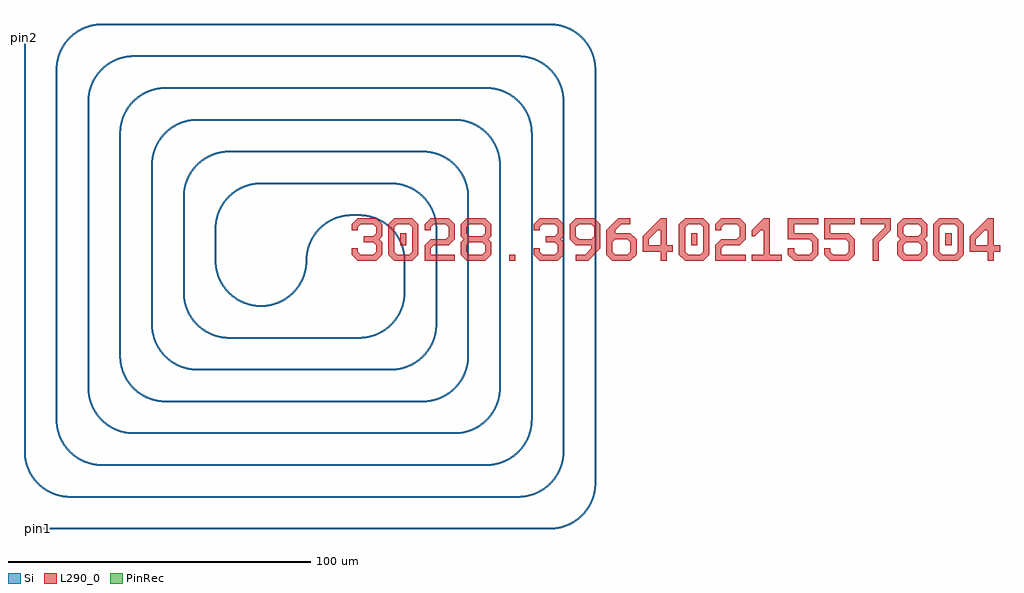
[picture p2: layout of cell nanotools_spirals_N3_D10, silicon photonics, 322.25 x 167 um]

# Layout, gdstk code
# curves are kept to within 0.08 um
import gdstk
lib = gdstk.Library(unit=1e-6, precision=1e-09)
def R(c, l, rs):  # rectangles x0, y0, x1, y1
    for r in rs: c.add(gdstk.rectangle(r[:2], r[2:], *l))
def P(c, l, *ps):  # polygons
    for p in ps: c.add(gdstk.Polygon(p, *l))
Si = (1, 0)
PinRec = (1, 10)
L290_0 = (290, 0)

nanotools_spirals_n3_d10 = lib.new_cell('nanotools_spirals_N3_D10')
R(nanotools_spirals_n3_d10, Si, [(-103.5,-88.75,65.4,-88.25), (-93,-78.25,54.9,-77.75), (80.15,-73.5,80.65,63), (-82.5,-67.75,44.4,-67.25), (-108.25,-63,-107.75,73.5), (69.65,-63,70.15,52.5), (-72,-57.25,33.9,-56.75), (-97.75,-52.5,-97.25,63), (59.15,-52.5,59.65,42), (-61.5,-46.75,23.4,-46.25), (-87.25,-42,-86.75,52.5), (48.65,-42,49.15,31.5), (-51,-36.25,12.9,-35.75), (-76.75,-31.5,-76.25,42), (38.15,-31.5,38.65,21), (-40.5,-25.75,2.4,-25.25), (-66.25,-21,-65.75,31.5), (27.65,-21,28.15,10.5), (-55.75,-10.5,-55.25,21), (17.15,-10.5,17.65,0), (-45.25,0,-44.75,10.5), (0,14.75,2.4,15.25), (-30,25.25,12.9,25.75), (-40.5,35.75,23.4,36.25), (-51,46.25,33.9,46.75), (-61.5,56.75,44.4,57.25), (-72,67.25,54.9,67.75), (-82.5,77.75,65.4,78.25)])
P(nanotools_spirals_n3_d10, Si, [(-15.25,0),(-15.178,1.483),(-14.961,2.952),(-14.603,4.394),(-14.107,5.793),(-13.477,7.138),(-12.718,8.414),(-11.84,9.612),(-10.849,10.718),(-9.755,11.722),(-8.569,12.615),(-7.138,13.477),(-5.793,14.107),(-4.394,14.603),(-2.952,14.961),(-1.483,15.178),(0,15.25),(0,14.75),(-1.613,14.662),(-3.032,14.435),(-4.592,14.017),(-6.098,13.431),(-7.219,12.863),(-8.436,12.1),(-9.435,11.338),(-10.366,10.493),(-11.222,9.573),(-12.1,8.436),(-12.863,7.219),(-13.431,6.098),(-14.017,4.592),(-14.435,3.032),(-14.662,1.613),(-14.75,0)],
  [(-30,-15.25),(-30,-14.75),(-28.387,-14.662),(-26.968,-14.435),(-25.408,-14.017),(-23.902,-13.431),(-22.781,-12.863),(-21.564,-12.1),(-20.565,-11.338),(-19.634,-10.493),(-18.778,-9.573),(-17.9,-8.436),(-17.137,-7.219),(-16.569,-6.098),(-15.983,-4.592),(-15.565,-3.032),(-15.338,-1.613),(-15.25,0),(-14.75,0),(-14.822,-1.483),(-15.039,-2.952),(-15.397,-4.394),(-15.893,-5.793),(-16.523,-7.138),(-17.282,-8.414),(-18.16,-9.612),(-19.151,-10.718),(-20.245,-11.722),(-21.431,-12.615),(-22.862,-13.477),(-24.207,-14.107),(-25.606,-14.603),(-27.048,-14.961),(-28.517,-15.178)],
  [(2.4,-25.75),(2.4,-25.25),(4.013,-25.162),(5.432,-24.935),(6.992,-24.517),(8.498,-23.931),(9.619,-23.363),(10.836,-22.6),(11.835,-21.838),(12.766,-20.993),(13.622,-20.073),(14.5,-18.936),(15.263,-17.719),(15.831,-16.598),(16.417,-15.092),(16.835,-13.532),(17.062,-12.113),(17.15,-10.5),(17.65,-10.5),(17.578,-11.983),(17.361,-13.452),(17.003,-14.894),(16.507,-16.293),(15.877,-17.638),(15.118,-18.914),(14.24,-20.112),(13.249,-21.218),(12.155,-22.222),(10.969,-23.115),(9.538,-23.977),(8.193,-24.607),(6.794,-25.103),(5.352,-25.461),(3.883,-25.678)],
  [(12.9,-36.25),(12.9,-35.75),(14.513,-35.662),(15.932,-35.435),(17.492,-35.017),(18.998,-34.431),(20.119,-33.863),(21.336,-33.1),(22.335,-32.338),(23.266,-31.493),(24.122,-30.573),(25,-29.436),(25.763,-28.219),(26.331,-27.098),(26.917,-25.592),(27.335,-24.032),(27.562,-22.613),(27.65,-21),(28.15,-21),(28.078,-22.483),(27.861,-23.952),(27.503,-25.394),(27.007,-26.793),(26.377,-28.138),(25.618,-29.414),(24.74,-30.612),(23.749,-31.718),(22.655,-32.722),(21.469,-33.615),(20.038,-34.477),(18.693,-35.107),(17.294,-35.603),(15.852,-35.961),(14.383,-36.178)],
  [(23.4,-46.75),(23.4,-46.25),(25.013,-46.162),(26.432,-45.935),(27.992,-45.517),(29.498,-44.931),(30.619,-44.363),(31.836,-43.6),(32.835,-42.838),(33.766,-41.993),(34.622,-41.073),(35.5,-39.936),(36.263,-38.719),(36.831,-37.598),(37.417,-36.092),(37.835,-34.532),(38.062,-33.113),(38.15,-31.5),(38.65,-31.5),(38.578,-32.983),(38.361,-34.452),(38.003,-35.894),(37.507,-37.293),(36.877,-38.638),(36.118,-39.914),(35.24,-41.112),(34.249,-42.218),(33.155,-43.222),(31.969,-44.115),(30.538,-44.977),(29.193,-45.607),(27.794,-46.103),(26.352,-46.461),(24.883,-46.678)],
  [(33.9,-57.25),(33.9,-56.75),(35.513,-56.662),(36.932,-56.435),(38.492,-56.017),(39.998,-55.431),(41.119,-54.863),(42.336,-54.1),(43.335,-53.338),(44.266,-52.493),(45.122,-51.573),(46,-50.436),(46.763,-49.219),(47.331,-48.098),(47.917,-46.592),(48.335,-45.032),(48.562,-43.613),(48.65,-42),(49.15,-42),(49.078,-43.483),(48.861,-44.952),(48.503,-46.394),(48.007,-47.793),(47.377,-49.138),(46.618,-50.414),(45.74,-51.612),(44.749,-52.718),(43.655,-53.722),(42.469,-54.615),(41.038,-55.477),(39.693,-56.107),(38.294,-56.603),(36.852,-56.961),(35.383,-57.178)],
  [(44.4,-67.75),(44.4,-67.25),(46.013,-67.162),(47.432,-66.935),(48.992,-66.517),(50.498,-65.931),(51.619,-65.363),(52.836,-64.6),(53.835,-63.838),(54.766,-62.993),(55.622,-62.073),(56.5,-60.936),(57.263,-59.719),(57.831,-58.598),(58.417,-57.092),(58.835,-55.532),(59.062,-54.113),(59.15,-52.5),(59.65,-52.5),(59.578,-53.983),(59.361,-55.452),(59.003,-56.894),(58.507,-58.293),(57.877,-59.638),(57.118,-60.914),(56.24,-62.112),(55.249,-63.218),(54.155,-64.222),(52.969,-65.115),(51.538,-65.977),(50.193,-66.607),(48.794,-67.103),(47.352,-67.461),(45.883,-67.678)],
  [(54.9,-78.25),(54.9,-77.75),(56.513,-77.662),(57.932,-77.435),(59.492,-77.017),(60.998,-76.431),(62.119,-75.863),(63.336,-75.1),(64.335,-74.338),(65.266,-73.493),(66.122,-72.573),(67,-71.436),(67.763,-70.219),(68.331,-69.098),(68.917,-67.592),(69.335,-66.032),(69.562,-64.613),(69.65,-63),(70.15,-63),(70.078,-64.483),(69.861,-65.952),(69.503,-67.394),(69.007,-68.793),(68.377,-70.138),(67.618,-71.414),(66.74,-72.612),(65.749,-73.718),(64.655,-74.722),(63.469,-75.615),(62.038,-76.477),(60.693,-77.107),(59.294,-77.603),(57.852,-77.961),(56.383,-78.178)],
  [(65.4,-88.75),(65.4,-88.25),(67.013,-88.162),(68.432,-87.935),(69.992,-87.517),(71.498,-86.931),(72.619,-86.363),(73.836,-85.6),(74.835,-84.838),(75.766,-83.993),(76.622,-83.073),(77.5,-81.936),(78.263,-80.719),(78.831,-79.598),(79.417,-78.092),(79.835,-76.532),(80.062,-75.113),(80.15,-73.5),(80.65,-73.5),(80.578,-74.983),(80.361,-76.452),(80.003,-77.894),(79.507,-79.293),(78.877,-80.638),(78.118,-81.914),(77.24,-83.112),(76.249,-84.218),(75.155,-85.222),(73.969,-86.115),(72.538,-86.977),(71.193,-87.607),(69.794,-88.103),(68.352,-88.461),(66.883,-88.678)],
  [(17.15,0),(17.08,1.435),(16.905,2.679),(16.575,4.077),(16.112,5.437),(15.518,6.744),(14.8,7.988),(13.964,9.156),(13.019,10.238),(11.973,11.222),(10.982,11.996),(9.775,12.774),(8.661,13.355),(7.162,13.96),(5.607,14.397),(4.013,14.662),(2.4,14.75),(2.4,15.25),(4.068,15.159),(5.534,14.924),(6.971,14.549),(8.364,14.035),(9.864,13.299),(11.122,12.51),(12.297,11.602),(13.379,10.585),(14.356,9.467),(15.32,8.102),(16.128,6.641),(16.772,5.099),(17.324,3.134),(17.609,1.113),(17.65,0)],
  [(27.65,10.5),(27.58,11.935),(27.405,13.179),(27.075,14.577),(26.612,15.937),(26.018,17.244),(25.3,18.488),(24.464,19.656),(23.519,20.738),(22.473,21.722),(21.482,22.496),(20.275,23.274),(19.161,23.855),(17.662,24.46),(16.107,24.897),(14.513,25.162),(12.9,25.25),(12.9,25.75),(14.568,25.659),(16.034,25.424),(17.471,25.049),(18.864,24.535),(20.364,23.799),(21.622,23.01),(22.797,22.102),(23.879,21.085),(24.856,19.967),(25.82,18.602),(26.628,17.141),(27.272,15.599),(27.824,13.634),(28.109,11.613),(28.15,10.5)],
  [(38.15,21),(38.08,22.435),(37.905,23.679),(37.575,25.077),(37.112,26.437),(36.518,27.744),(35.8,28.988),(34.964,30.156),(34.019,31.238),(32.973,32.222),(31.982,32.996),(30.775,33.774),(29.661,34.355),(28.162,34.96),(26.607,35.397),(25.013,35.662),(23.4,35.75),(23.4,36.25),(25.068,36.159),(26.534,35.924),(27.971,35.549),(29.364,35.035),(30.864,34.299),(32.122,33.51),(33.297,32.602),(34.379,31.585),(35.356,30.467),(36.32,29.102),(37.128,27.641),(37.772,26.099),(38.324,24.134),(38.609,22.113),(38.65,21)],
  [(48.65,31.5),(48.58,32.935),(48.405,34.179),(48.075,35.577),(47.612,36.937),(47.018,38.244),(46.3,39.488),(45.464,40.656),(44.519,41.738),(43.473,42.722),(42.482,43.496),(41.275,44.274),(40.161,44.855),(38.662,45.46),(37.107,45.897),(35.513,46.162),(33.9,46.25),(33.9,46.75),(35.568,46.659),(37.034,46.424),(38.471,46.049),(39.864,45.535),(41.364,44.799),(42.622,44.01),(43.797,43.102),(44.879,42.085),(45.856,40.967),(46.82,39.602),(47.628,38.141),(48.272,36.599),(48.824,34.634),(49.109,32.613),(49.15,31.5)],
  [(59.15,42),(59.08,43.435),(58.905,44.679),(58.575,46.077),(58.112,47.437),(57.518,48.744),(56.8,49.988),(55.964,51.156),(55.019,52.238),(53.973,53.222),(52.982,53.996),(51.775,54.774),(50.661,55.355),(49.162,55.96),(47.607,56.397),(46.013,56.662),(44.4,56.75),(44.4,57.25),(46.068,57.159),(47.534,56.924),(48.971,56.549),(50.364,56.035),(51.864,55.299),(53.122,54.51),(54.297,53.602),(55.379,52.585),(56.356,51.467),(57.32,50.102),(58.128,48.641),(58.772,47.099),(59.324,45.134),(59.609,43.113),(59.65,42)],
  [(69.65,52.5),(69.58,53.935),(69.405,55.179),(69.075,56.577),(68.612,57.937),(68.018,59.244),(67.3,60.488),(66.464,61.656),(65.519,62.738),(64.473,63.722),(63.482,64.496),(62.275,65.274),(61.161,65.855),(59.662,66.46),(58.107,66.897),(56.513,67.162),(54.9,67.25),(54.9,67.75),(56.568,67.659),(58.034,67.424),(59.471,67.049),(60.864,66.535),(62.364,65.799),(63.622,65.01),(64.797,64.102),(65.879,63.085),(66.856,61.967),(67.82,60.602),(68.628,59.141),(69.272,57.599),(69.824,55.634),(70.109,53.613),(70.15,52.5)],
  [(80.15,63),(80.08,64.435),(79.905,65.679),(79.575,67.077),(79.112,68.437),(78.518,69.744),(77.8,70.988),(76.964,72.156),(76.019,73.238),(74.973,74.222),(73.982,74.996),(72.775,75.774),(71.661,76.355),(70.162,76.96),(68.607,77.397),(67.013,77.662),(65.4,77.75),(65.4,78.25),(67.068,78.159),(68.534,77.924),(69.971,77.549),(71.364,77.035),(72.864,76.299),(74.122,75.51),(75.297,74.602),(76.379,73.585),(77.356,72.467),(78.32,71.102),(79.128,69.641),(79.772,68.099),(80.324,66.134),(80.609,64.113),(80.65,63)],
  [(-45.25,10.5),(-45.178,11.983),(-44.961,13.452),(-44.603,14.894),(-44.107,16.293),(-43.477,17.638),(-42.718,18.914),(-41.84,20.112),(-40.849,21.218),(-39.755,22.222),(-38.569,23.115),(-37.138,23.977),(-35.793,24.607),(-34.394,25.103),(-32.952,25.461),(-31.483,25.678),(-30,25.75),(-30,25.25),(-31.613,25.162),(-33.032,24.935),(-34.592,24.517),(-36.098,23.931),(-37.219,23.363),(-38.436,22.6),(-39.435,21.838),(-40.366,20.993),(-41.222,20.073),(-42.1,18.936),(-42.863,17.719),(-43.431,16.598),(-44.017,15.092),(-44.435,13.532),(-44.662,12.113),(-44.75,10.5)],
  [(-55.75,21),(-55.678,22.483),(-55.461,23.952),(-55.103,25.394),(-54.607,26.793),(-53.977,28.138),(-53.218,29.414),(-52.34,30.612),(-51.349,31.718),(-50.255,32.722),(-49.069,33.615),(-47.638,34.477),(-46.293,35.107),(-44.894,35.603),(-43.452,35.961),(-41.983,36.178),(-40.5,36.25),(-40.5,35.75),(-42.113,35.662),(-43.532,35.435),(-45.092,35.017),(-46.598,34.431),(-47.719,33.863),(-48.936,33.1),(-49.935,32.338),(-50.866,31.493),(-51.722,30.573),(-52.6,29.436),(-53.363,28.219),(-53.931,27.098),(-54.517,25.592),(-54.935,24.032),(-55.162,22.613),(-55.25,21)],
  [(-66.25,31.5),(-66.178,32.983),(-65.961,34.452),(-65.603,35.894),(-65.107,37.293),(-64.477,38.638),(-63.718,39.914),(-62.84,41.112),(-61.849,42.218),(-60.755,43.222),(-59.569,44.115),(-58.138,44.977),(-56.793,45.607),(-55.394,46.103),(-53.952,46.461),(-52.483,46.678),(-51,46.75),(-51,46.25),(-52.613,46.162),(-54.032,45.935),(-55.592,45.517),(-57.098,44.931),(-58.219,44.363),(-59.436,43.6),(-60.435,42.838),(-61.366,41.993),(-62.222,41.073),(-63.1,39.936),(-63.863,38.719),(-64.431,37.598),(-65.017,36.092),(-65.435,34.532),(-65.662,33.113),(-65.75,31.5)],
  [(-76.75,42),(-76.678,43.483),(-76.461,44.952),(-76.103,46.394),(-75.607,47.793),(-74.977,49.138),(-74.218,50.414),(-73.34,51.612),(-72.349,52.718),(-71.255,53.722),(-70.069,54.615),(-68.638,55.477),(-67.293,56.107),(-65.894,56.603),(-64.452,56.961),(-62.983,57.178),(-61.5,57.25),(-61.5,56.75),(-63.113,56.662),(-64.532,56.435),(-66.092,56.017),(-67.598,55.431),(-68.719,54.863),(-69.936,54.1),(-70.935,53.338),(-71.866,52.493),(-72.722,51.573),(-73.6,50.436),(-74.363,49.219),(-74.931,48.098),(-75.517,46.592),(-75.935,45.032),(-76.162,43.613),(-76.25,42)],
  [(-87.25,52.5),(-87.178,53.983),(-86.961,55.452),(-86.603,56.894),(-86.107,58.293),(-85.477,59.638),(-84.718,60.914),(-83.84,62.112),(-82.849,63.218),(-81.755,64.222),(-80.569,65.115),(-79.138,65.977),(-77.793,66.607),(-76.394,67.103),(-74.952,67.461),(-73.483,67.678),(-72,67.75),(-72,67.25),(-73.613,67.162),(-75.032,66.935),(-76.592,66.517),(-78.098,65.931),(-79.219,65.363),(-80.436,64.6),(-81.435,63.838),(-82.366,62.993),(-83.222,62.073),(-84.1,60.936),(-84.863,59.719),(-85.431,58.598),(-86.017,57.092),(-86.435,55.532),(-86.662,54.113),(-86.75,52.5)],
  [(-97.75,63),(-97.678,64.483),(-97.461,65.952),(-97.103,67.394),(-96.607,68.793),(-95.977,70.138),(-95.218,71.414),(-94.34,72.612),(-93.349,73.718),(-92.255,74.722),(-91.069,75.615),(-89.638,76.477),(-88.293,77.107),(-86.894,77.603),(-85.452,77.961),(-83.983,78.178),(-82.5,78.25),(-82.5,77.75),(-84.113,77.662),(-85.532,77.435),(-87.092,77.017),(-88.598,76.431),(-89.719,75.863),(-90.936,75.1),(-91.935,74.338),(-92.866,73.493),(-93.722,72.573),(-94.6,71.436),(-95.363,70.219),(-95.931,69.098),(-96.517,67.592),(-96.935,66.032),(-97.162,64.613),(-97.25,63)],
  [(-30,-15.25),(-31.483,-15.178),(-32.952,-14.961),(-34.394,-14.603),(-35.793,-14.107),(-37.138,-13.477),(-38.414,-12.718),(-39.612,-11.84),(-40.718,-10.849),(-41.722,-9.755),(-42.615,-8.569),(-43.477,-7.138),(-44.107,-5.793),(-44.603,-4.394),(-44.961,-2.952),(-45.178,-1.483),(-45.25,0),(-44.75,0),(-44.662,-1.613),(-44.435,-3.032),(-44.017,-4.592),(-43.431,-6.098),(-42.863,-7.219),(-42.1,-8.436),(-41.338,-9.435),(-40.493,-10.366),(-39.573,-11.222),(-38.436,-12.1),(-37.219,-12.863),(-36.098,-13.431),(-34.592,-14.017),(-33.032,-14.435),(-31.613,-14.662),(-30,-14.75)],
  [(-40.5,-25.75),(-41.983,-25.678),(-43.452,-25.461),(-44.894,-25.103),(-46.293,-24.607),(-47.638,-23.977),(-48.914,-23.218),(-50.112,-22.34),(-51.218,-21.349),(-52.222,-20.255),(-53.115,-19.069),(-53.977,-17.638),(-54.607,-16.293),(-55.103,-14.894),(-55.461,-13.452),(-55.678,-11.983),(-55.75,-10.5),(-55.25,-10.5),(-55.162,-12.113),(-54.935,-13.532),(-54.517,-15.092),(-53.931,-16.598),(-53.363,-17.719),(-52.6,-18.936),(-51.838,-19.935),(-50.993,-20.866),(-50.073,-21.722),(-48.936,-22.6),(-47.719,-23.363),(-46.598,-23.931),(-45.092,-24.517),(-43.532,-24.935),(-42.113,-25.162),(-40.5,-25.25)],
  [(-51,-36.25),(-52.483,-36.178),(-53.952,-35.961),(-55.394,-35.603),(-56.793,-35.107),(-58.138,-34.477),(-59.414,-33.718),(-60.612,-32.84),(-61.718,-31.849),(-62.722,-30.755),(-63.615,-29.569),(-64.477,-28.138),(-65.107,-26.793),(-65.603,-25.394),(-65.961,-23.952),(-66.178,-22.483),(-66.25,-21),(-65.75,-21),(-65.662,-22.613),(-65.435,-24.032),(-65.017,-25.592),(-64.431,-27.098),(-63.863,-28.219),(-63.1,-29.436),(-62.338,-30.435),(-61.493,-31.366),(-60.573,-32.222),(-59.436,-33.1),(-58.219,-33.863),(-57.098,-34.431),(-55.592,-35.017),(-54.032,-35.435),(-52.613,-35.662),(-51,-35.75)],
  [(-61.5,-46.75),(-62.983,-46.678),(-64.452,-46.461),(-65.894,-46.103),(-67.293,-45.607),(-68.638,-44.977),(-69.914,-44.218),(-71.112,-43.34),(-72.218,-42.349),(-73.222,-41.255),(-74.115,-40.069),(-74.977,-38.638),(-75.607,-37.293),(-76.103,-35.894),(-76.461,-34.452),(-76.678,-32.983),(-76.75,-31.5),(-76.25,-31.5),(-76.162,-33.113),(-75.935,-34.532),(-75.517,-36.092),(-74.931,-37.598),(-74.363,-38.719),(-73.6,-39.936),(-72.838,-40.935),(-71.993,-41.866),(-71.073,-42.722),(-69.936,-43.6),(-68.719,-44.363),(-67.598,-44.931),(-66.092,-45.517),(-64.532,-45.935),(-63.113,-46.162),(-61.5,-46.25)],
  [(-72,-57.25),(-73.483,-57.178),(-74.952,-56.961),(-76.394,-56.603),(-77.793,-56.107),(-79.138,-55.477),(-80.414,-54.718),(-81.612,-53.84),(-82.718,-52.849),(-83.722,-51.755),(-84.615,-50.569),(-85.477,-49.138),(-86.107,-47.793),(-86.603,-46.394),(-86.961,-44.952),(-87.178,-43.483),(-87.25,-42),(-86.75,-42),(-86.662,-43.613),(-86.435,-45.032),(-86.017,-46.592),(-85.431,-48.098),(-84.863,-49.219),(-84.1,-50.436),(-83.338,-51.435),(-82.493,-52.366),(-81.573,-53.222),(-80.436,-54.1),(-79.219,-54.863),(-78.098,-55.431),(-76.592,-56.017),(-75.032,-56.435),(-73.613,-56.662),(-72,-56.75)],
  [(-82.5,-67.75),(-83.983,-67.678),(-85.452,-67.461),(-86.894,-67.103),(-88.293,-66.607),(-89.638,-65.977),(-90.914,-65.218),(-92.112,-64.34),(-93.218,-63.349),(-94.222,-62.255),(-95.115,-61.069),(-95.977,-59.638),(-96.607,-58.293),(-97.103,-56.894),(-97.461,-55.452),(-97.678,-53.983),(-97.75,-52.5),(-97.25,-52.5),(-97.162,-54.113),(-96.935,-55.532),(-96.517,-57.092),(-95.931,-58.598),(-95.363,-59.719),(-94.6,-60.936),(-93.838,-61.935),(-92.993,-62.866),(-92.073,-63.722),(-90.936,-64.6),(-89.719,-65.363),(-88.598,-65.931),(-87.092,-66.517),(-85.532,-66.935),(-84.113,-67.162),(-82.5,-67.25)],
  [(-93,-78.25),(-94.483,-78.178),(-95.952,-77.961),(-97.394,-77.603),(-98.793,-77.107),(-100.138,-76.477),(-101.414,-75.718),(-102.612,-74.84),(-103.718,-73.849),(-104.722,-72.755),(-105.615,-71.569),(-106.477,-70.138),(-107.107,-68.793),(-107.603,-67.394),(-107.961,-65.952),(-108.178,-64.483),(-108.25,-63),(-107.75,-63),(-107.662,-64.613),(-107.435,-66.032),(-107.017,-67.592),(-106.431,-69.098),(-105.863,-70.219),(-105.1,-71.436),(-104.338,-72.435),(-103.493,-73.366),(-102.573,-74.222),(-101.436,-75.1),(-100.219,-75.863),(-99.098,-76.431),(-97.592,-77.017),(-96.032,-77.435),(-94.613,-77.662),(-93,-77.75)])
R(nanotools_spirals_n3_d10, L290_0, [(52,0,54,2), (16,5,18,9), (112,5,114,9), (196,5,198,9)])
P(nanotools_spirals_n3_d10, L290_0, [(2,0),(0,2),(0,4),(2,4),(2,3),(3,2),(7,2),(8,3),(8,5),(7,6),(4,6),(4,8),(7,8),(8,9),(8,11),(7,12),(3,12),(2,11),(2,10),(0,10),(0,12),(2,14),(8,14),(10,12),(10,8),(9,7),(10,6),(10,2),(8,0)],
  [(14,0),(12,2),(12,12),(14,14),(20,14),(22,12),(15,12),(14,11),(14,3),(15,2),(19,2),(20,3),(20,11),(19,12),(22,12),(22,2),(20,0)],
  [(24,0),(24,5),(26,7),(31,7),(32,8),(32,11),(31,12),(27,12),(26,11),(26,10),(24,10),(24,12),(26,14),(32,14),(34,12),(34,7),(32,5),(27,5),(26,4),(26,2),(34,2),(34,0)],
  [(38,0),(36,2),(36,6),(37,7),(36,8),(36,12),(38,14),(44,14),(46,12),(39,12),(38,11),(38,9),(39,8),(43,8),(44,9),(44,11),(43,12),(46,12),(46,8),(45,7),(46,6),(39,6),(38,5),(38,3),(39,2),(43,2),(44,3),(44,5),(43,6),(46,6),(46,2),(44,0)],
  [(62,0),(60,2),(60,4),(62,4),(62,3),(63,2),(67,2),(68,3),(68,5),(67,6),(64,6),(64,8),(67,8),(68,9),(68,11),(67,12),(63,12),(62,11),(62,10),(60,10),(60,12),(62,14),(68,14),(70,12),(70,8),(69,7),(70,6),(70,2),(68,0)],
  [(74,0),(74,2),(77,2),(79,4),(79,5),(74,5),(72,7),(79,7),(80,8),(80,11),(79,12),(75,12),(74,11),(74,8),(75,7),(72,7),(72,12),(74,14),(80,14),(82,12),(82,4),(78,0)],
  [(86,0),(84,2),(84,10),(88,14),(92,14),(92,12),(89,12),(87,10),(87,9),(92,9),(94,7),(87,7),(86,6),(86,3),(87,2),(91,2),(92,3),(92,6),(91,7),(94,7),(94,2),(92,0)],
  [(102,0),(102,3),(96,3),(96,5),(102,5),(102,10),(101,10),(98,7),(98,5),(96,5),(96,8),(102,14),(104,14),(104,5),(106,5),(106,3),(104,3),(104,0)],
  [(110,0),(108,2),(108,12),(110,14),(116,14),(118,12),(111,12),(110,11),(110,3),(111,2),(115,2),(116,3),(116,11),(115,12),(118,12),(118,2),(116,0)],
  [(120,0),(120,5),(122,7),(127,7),(128,8),(128,11),(127,12),(123,12),(122,11),(122,10),(120,10),(120,12),(122,14),(128,14),(130,12),(130,7),(128,5),(123,5),(122,4),(122,2),(130,2),(130,0)],
  [(132,0),(132,2),(136,2),(136,10),(135,10),(133,8),(132,8),(132,10),(136,14),(138,14),(138,2),(142,2),(142,0)],
  [(146,0),(144,2),(144,4),(146,4),(146,3),(147,2),(151,2),(152,3),(152,6),(151,7),(144,7),(144,14),(154,14),(154,12),(146,12),(146,9),(152,9),(154,7),(154,2),(152,0)],
  [(158,0),(156,2),(156,4),(158,4),(158,3),(159,2),(163,2),(164,3),(164,6),(163,7),(156,7),(156,14),(166,14),(166,12),(158,12),(158,9),(164,9),(166,7),(166,2),(164,0)],
  [(172,0),(172,7),(176,11),(176,12),(168,12),(168,14),(178,14),(178,10),(174,6),(174,0)],
  [(182,0),(180,2),(180,6),(181,7),(180,8),(180,12),(182,14),(188,14),(190,12),(183,12),(182,11),(182,9),(183,8),(187,8),(188,9),(188,11),(187,12),(190,12),(190,8),(189,7),(190,6),(183,6),(182,5),(182,3),(183,2),(187,2),(188,3),(188,5),(187,6),(190,6),(190,2),(188,0)],
  [(194,0),(192,2),(192,12),(194,14),(200,14),(202,12),(195,12),(194,11),(194,3),(195,2),(199,2),(200,3),(200,11),(199,12),(202,12),(202,2),(200,0)],
  [(210,0),(210,3),(204,3),(204,5),(210,5),(210,10),(209,10),(206,7),(206,5),(204,5),(204,8),(210,14),(212,14),(212,5),(214,5),(214,3),(212,3),(212,0)])
nanotools_spirals_n3_d10.add(gdstk.FlexPath([(-103.45,-88.5),(-103.55,-88.5)], 0.5, ends="flush", simple_path=True, layer=1, datatype=10))  # PinRec
nanotools_spirals_n3_d10.add(gdstk.FlexPath([(-108,73.45),(-108,73.55)], 0.5, ends="flush", simple_path=True, layer=1, datatype=10))  # PinRec
nanotools_spirals_n3_d10.add(gdstk.Label('pin1', (-103.5,-88.5), layer=1, texttype=10))
nanotools_spirals_n3_d10.add(gdstk.Label('pin2', (-108,73.5), layer=1, texttype=10))

lib.write_gds('nanotools_spirals_N3_D10.gds')
